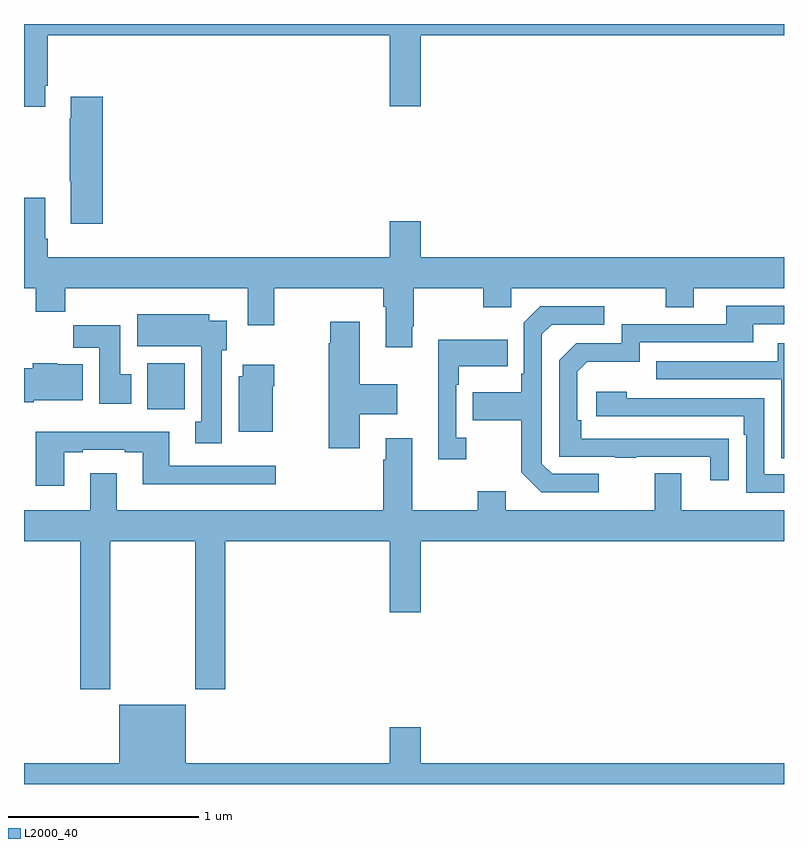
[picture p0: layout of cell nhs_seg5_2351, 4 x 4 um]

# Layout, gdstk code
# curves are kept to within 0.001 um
import gdstk
lib = gdstk.Library(unit=1e-6, precision=1e-09)
def R(c, l, rs):  # rectangles x0, y0, x1, y1
    for r in rs: c.add(gdstk.rectangle(r[:2], r[2:], *l))
def P(c, l, *ps):  # polygons
    for p in ps: c.add(gdstk.Polygon(p, *l))
L2000_40 = (2000, 40)

nhs_seg5_2351 = lib.new_cell('nhs_seg5_2351')
R(nhs_seg5_2351, L2000_40, [(247.649,874.772,247.846,875.014)])
P(nhs_seg5_2351, L2000_40, [(247.111,876.475),(247.124,876.475),(247.124,876.74),(248.924,876.74),(248.924,876.366),(249.088,876.366),(249.088,876.74),(251,876.74),(251,876.799),(247,876.799),(247,876.363),(247.111,876.363)],
  [(247.415,876.415),(247.247,876.415),(247.247,876.302),(247.24,876.302),(247.24,875.971),(247.247,875.971),(247.247,875.748),(247.415,875.748)],
  [(249.043,875.209),(249.051,875.209),(249.051,875.408),(249.418,875.408),(249.418,875.309),(249.564,875.309),(249.564,875.408),(250.378,875.408),(250.378,875.309),(250.525,875.309),(250.525,875.408),(251,875.408),(251,875.572),(249.088,875.572),(249.088,875.761),(248.924,875.761),(248.924,875.572),(247.124,875.572),(247.124,875.668),(247.111,875.668),(247.111,875.884),(247,875.884),(247,875.408),(247.061,875.408),(247.061,875.284),(247.217,875.284),(247.217,875.408),(248.177,875.408),(248.177,875.214),(248.317,875.214),(248.317,875.408),(248.891,875.408),(248.891,875.312),(248.903,875.312),(248.903,875.097),(249.043,875.097)],
  [(250.709,874.616),(249.932,874.617),(249.932,874.714),(249.912,874.714),(249.912,874.968),(249.965,875.021),(250.242,875.021),(250.242,875.124),(250.837,875.124),(250.837,875.22),(251,875.22),(251,875.316),(250.697,875.316),(250.697,875.22),(250.146,875.22),(250.146,875.118),(249.906,875.118),(249.816,875.028),(249.816,874.521),(250.111,874.521),(250.111,874.516),(250.223,874.516),(250.223,874.521),(250.613,874.521),(250.613,874.398),(250.709,874.398)],
  [(250.024,874.431),(249.78,874.431),(249.726,874.485),(249.726,875.166),(249.777,875.217),(250.054,875.217),(250.054,875.313),(249.717,875.313),(249.63,875.226),(249.63,874.957),(249.618,874.957),(249.618,874.861),(249.361,874.861),(249.361,874.714),(249.618,874.714),(249.618,874.441),(249.723,874.335),(250.024,874.335)],
  [(248.041,875.082),(248.068,875.082),(248.068,875.236),(247.975,875.236),(247.975,875.272),(247.595,875.272),(247.595,875.102),(247.934,875.102),(247.934,874.706),(247.901,874.706),(247.901,874.593),(248.041,874.593)],
  [(248.767,874.745),(248.965,874.745),(248.965,874.903),(248.767,874.903),(248.767,875.233),(248.612,875.233),(248.612,875.12),(248.605,875.12),(248.605,874.566),(248.767,874.566)],
  [(247.564,874.956),(247.507,874.956),(247.507,875.214),(247.258,875.214),(247.258,875.096),(247.397,875.096),(247.397,874.8),(247.564,874.8)],
  [(249.328,874.622),(249.276,874.622),(249.276,874.901),(249.289,874.901),(249.289,874.997),(249.545,874.997),(249.545,875.137),(249.179,875.137),(249.179,874.509),(249.328,874.509)],
  [(251,875.119),(250.967,875.119),(250.967,875.025),(250.327,875.025),(250.327,874.929),(250.986,874.929),(250.986,874.513),(251,874.513)],
  [(247.051,874.82),(247.309,874.82),(247.309,875.008),(247.176,875.008),(247.176,875.014),(247.046,875.014),(247.046,874.986),(247,874.986),(247,874.808),(247.051,874.808)],
  [(248.308,874.892),(248.316,874.892),(248.316,875.005),(248.15,875.005),(248.15,874.944),(248.129,874.944),(248.129,874.652),(248.308,874.652)],
  [(251,874.428),(250.896,874.428),(250.896,874.83),(250.172,874.83),(250.172,874.864),(250.011,874.864),(250.011,874.734),(250.787,874.734),(250.787,874.637),(250.8,874.637),(250.8,874.332),(251,874.332)],
  [(247.213,874.545),(247.309,874.545),(247.309,874.557),(247.529,874.557),(247.529,874.545),(247.625,874.545),(247.625,874.376),(248.326,874.376),(248.326,874.473),(247.765,874.473),(247.765,874.654),(247.061,874.654),(247.061,874.368),(247.213,874.368)],
  [(247.455,874.076),(247.9,874.076),(247.9,873.297),(248.06,873.297),(248.06,874.076),(248.924,874.076),(248.924,873.702),(249.088,873.702),(249.088,874.076),(251,874.076),(251,874.24),(250.459,874.24),(250.459,874.435),(250.319,874.435),(250.319,874.24),(249.535,874.24),(249.535,874.339),(249.388,874.339),(249.388,874.24),(249.043,874.24),(249.043,874.618),(248.903,874.618),(248.903,874.505),(248.891,874.505),(248.891,874.24),(247.489,874.24),(247.489,874.435),(247.349,874.435),(247.349,874.24),(247,874.24),(247,874.076),(247.295,874.076),(247.295,873.297),(247.455,873.297)],
  [(251,872.908),(249.088,872.908),(249.088,873.097),(248.924,873.097),(248.924,872.908),(247.852,872.908),(247.852,873.217),(247.502,873.217),(247.502,872.908),(247,872.908),(247,872.799),(251,872.799)])

lib.write_gds('nhs_seg5_2351.gds')
